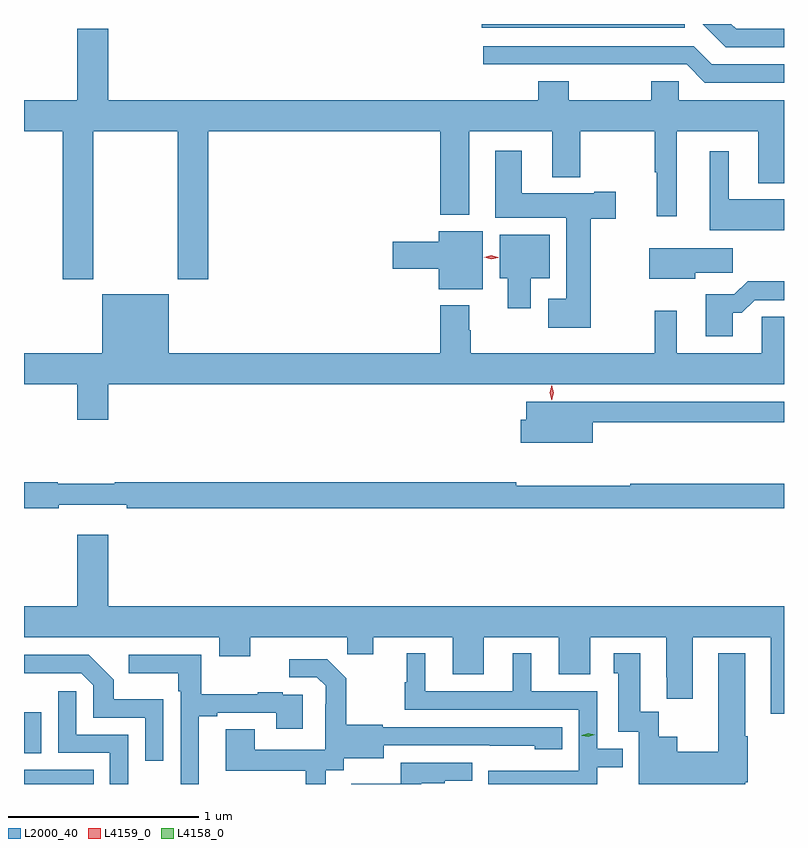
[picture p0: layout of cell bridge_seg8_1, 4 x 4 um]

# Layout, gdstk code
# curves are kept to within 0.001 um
import gdstk
lib = gdstk.Library(unit=1e-6, precision=1e-09)
def R(c, l, rs):  # rectangles x0, y0, x1, y1
    for r in rs: c.add(gdstk.rectangle(r[:2], r[2:], *l))
def P(c, l, *ps):  # polygons
    for p in ps: c.add(gdstk.Polygon(p, *l))
L2000_40 = (2000, 40)
L4158_0 = (4158, 0)
L4159_0 = (4159, 0)

bridge_seg8_1 = lib.new_cell('bridge_seg8_1')
R(bridge_seg8_1, L2000_40, [(955.936,1129.048,956.303,1129.122), (955.936,1129.211,956.026,1129.426), (958.346,1133.028,959.413,1133.048)])
P(bridge_seg8_1, L2000_40, [(959.936,1133.022),(959.685,1133.022),(959.659,1133.048),(959.508,1133.048),(959.63,1132.926),(959.936,1132.926)],
  [(956.301,1132.484),(956.746,1132.484),(956.746,1131.705),(956.906,1131.705),(956.906,1132.484),(958.127,1132.484),(958.127,1132.043),(958.279,1132.043),(958.279,1132.484),(958.715,1132.484),(958.715,1132.241),(958.863,1132.241),(958.863,1132.484),(959.257,1132.484),(959.257,1132.268),(959.267,1132.268),(959.267,1132.035),(959.371,1132.035),(959.371,1132.484),(959.801,1132.484),(959.801,1132.211),(959.936,1132.211),(959.936,1132.648),(959.382,1132.648),(959.382,1132.746),(959.236,1132.746),(959.236,1132.648),(958.803,1132.648),(958.803,1132.747),(958.643,1132.747),(958.643,1132.648),(956.38,1132.648),(956.38,1133.023),(956.216,1133.023),(956.216,1132.648),(955.936,1132.648),(955.936,1132.484),(956.141,1132.484),(956.141,1131.705),(956.301,1131.705)],
  [(959.936,1132.836),(959.557,1132.836),(959.461,1132.932),(958.353,1132.932),(958.353,1132.836),(958.891,1132.836),(958.891,1132.835),(959.147,1132.835),(959.147,1132.836),(959.424,1132.836),(959.52,1132.74),(959.936,1132.74)],
  [(958.92,1132.022),(959.05,1132.022),(959.05,1132.164),(958.937,1132.164),(958.937,1132.156),(958.555,1132.156),(958.555,1132.381),(958.415,1132.381),(958.415,1132.028),(958.79,1132.028),(958.79,1131.601),(958.695,1131.601),(958.695,1131.449),(958.92,1131.449)],
  [(959.936,1132.126),(959.644,1132.126),(959.644,1132.378),(959.546,1132.378),(959.546,1131.962),(959.936,1131.962)],
  [(958.351,1131.958),(958.118,1131.958),(958.118,1131.902),(957.876,1131.902),(957.876,1131.76),(958.118,1131.76),(958.118,1131.653),(958.351,1131.653)],
  [(958.603,1131.71),(958.702,1131.71),(958.702,1131.94),(958.439,1131.94),(958.439,1131.71),(958.481,1131.71),(958.481,1131.552),(958.603,1131.552)],
  [(959.47,1131.739),(959.665,1131.739),(959.665,1131.868),(959.226,1131.868),(959.226,1131.707),(959.47,1131.707)],
  [(959.665,1131.527),(959.714,1131.527),(959.781,1131.594),(959.936,1131.594),(959.936,1131.695),(959.744,1131.695),(959.674,1131.625),(959.525,1131.625),(959.525,1131.405),(959.665,1131.405)],
  [(956.38,1131.152),(959.936,1131.152),(959.936,1131.506),(959.82,1131.506),(959.82,1131.316),(959.371,1131.316),(959.371,1131.538),(959.257,1131.538),(959.257,1131.316),(958.287,1131.316),(958.287,1131.437),(958.279,1131.437),(958.279,1131.568),(958.127,1131.568),(958.127,1131.316),(956.698,1131.316),(956.698,1131.625),(956.348,1131.625),(956.348,1131.316),(955.936,1131.316),(955.936,1131.152),(956.216,1131.152),(956.216,1130.964),(956.38,1130.964)],
  [(958.93,1130.952),(959.936,1130.952),(959.936,1131.06),(958.826,1131.06),(958.826,1131.061),(958.58,1131.061),(958.58,1130.965),(958.55,1130.965),(958.55,1130.843),(958.93,1130.843)],
  [(956.12,1130.519),(956.476,1130.519),(956.476,1130.5),(959.936,1130.5),(959.936,1130.629),(959.128,1130.629),(959.128,1130.619),(958.528,1130.619),(958.528,1130.636),(956.414,1130.636),(956.414,1130.629),(956.114,1130.629),(956.114,1130.636),(955.936,1130.636),(955.936,1130.5),(956.12,1130.5)],
  [(959.936,1129.984),(956.38,1129.984),(956.38,1130.359),(956.216,1130.359),(956.216,1129.984),(955.936,1129.984),(955.936,1129.82),(956.963,1129.82),(956.963,1129.721),(957.127,1129.721),(957.127,1129.82),(957.637,1129.82),(957.637,1129.73),(957.775,1129.73),(957.775,1129.82),(958.193,1129.82),(958.193,1129.626),(958.357,1129.626),(958.357,1129.82),(958.751,1129.82),(958.751,1129.626),(958.915,1129.626),(958.915,1129.82),(959.315,1129.82),(959.315,1129.609),(959.318,1129.609),(959.318,1129.497),(959.455,1129.497),(959.455,1129.82),(959.867,1129.82),(959.867,1129.419),(959.936,1129.419)],
  [(958.953,1129.137),(959.086,1129.137),(959.086,1129.233),(958.953,1129.233),(958.953,1129.536),(958.606,1129.536),(958.606,1129.735),(958.508,1129.735),(958.508,1129.536),(958.048,1129.536),(958.048,1129.735),(957.95,1129.735),(957.95,1129.584),(957.939,1129.584),(957.939,1129.44),(958.857,1129.44),(958.857,1129.119),(958.38,1129.119),(958.38,1129.048),(958.953,1129.048)],
  [(959.731,1129.056),(959.744,1129.056),(959.744,1129.3),(959.731,1129.3),(959.731,1129.735),(959.591,1129.735),(959.591,1129.217),(959.374,1129.217),(959.374,1129.297),(959.277,1129.297),(959.277,1129.427),(959.179,1129.427),(959.179,1129.735),(959.039,1129.735),(959.039,1129.632),(959.063,1129.632),(959.063,1129.323),(959.172,1129.323),(959.172,1129.048),(959.731,1129.048)],
  [(956.67,1129.495),(956.409,1129.495),(956.409,1129.598),(956.278,1129.728),(955.936,1129.728),(955.936,1129.631),(956.238,1129.632),(956.301,1129.569),(956.301,1129.398),(956.574,1129.398),(956.574,1129.17),(956.67,1129.17)],
  [(956.857,1129.404),(956.953,1129.404),(956.953,1129.422),(957.263,1129.422),(957.263,1129.338),(957.403,1129.338),(957.403,1129.518),(957.299,1129.518),(957.299,1129.531),(957.167,1129.531),(957.167,1129.52),(956.869,1129.52),(956.869,1129.728),(956.487,1129.728),(956.487,1129.631),(956.748,1129.631),(956.748,1129.535),(956.76,1129.535),(956.76,1129.048),(956.857,1129.048)],
  [(957.523,1129.12),(957.618,1129.12),(957.618,1129.184),(957.829,1129.184),(957.829,1129.251),(958.623,1129.25),(958.623,1129.232),(958.768,1129.232),(958.768,1129.347),(957.825,1129.347),(957.825,1129.36),(957.633,1129.36),(957.633,1129.605),(957.533,1129.705),(957.333,1129.705),(957.333,1129.611),(957.477,1129.611),(957.524,1129.564),(957.524,1129.469),(957.522,1129.469),(957.522,1129.228),(957.151,1129.228),(957.151,1129.337),(956.999,1129.337),(956.999,1129.118),(957.419,1129.118),(957.419,1129.048),(957.523,1129.048)],
  [(956.484,1129.308),(956.211,1129.308),(956.211,1129.537),(956.115,1129.537),(956.115,1129.212),(956.388,1129.212),(956.388,1129.048),(956.484,1129.048)],
  [(958.028,1129.053),(958.151,1129.053),(958.151,1129.064),(958.295,1129.064),(958.295,1129.161),(957.918,1129.161),(957.918,1129.049),(957.659,1129.049),(957.658,1129.048),(958.028,1129.048)])
P(bridge_seg8_1, L4158_0, [(958.907,1129.296),(958.872,1129.303),(958.872,1129.304),(958.872,1129.304),(958.906,1129.316),(958.941,1129.308),(958.941,1129.308),(958.941,1129.308)])
P(bridge_seg8_1, L4159_0, [(958.713,1131.067),(958.713,1131.067),(958.703,1131.107),(958.713,1131.147),(958.713,1131.147),(958.713,1131.147),(958.723,1131.107),(958.713,1131.067)],
  [(958.395,1131.81),(958.358,1131.82),(958.358,1131.82),(958.358,1131.82),(958.396,1131.83),(958.433,1131.82),(958.433,1131.819),(958.433,1131.819)])

lib.write_gds('bridge_seg8_1.gds')
